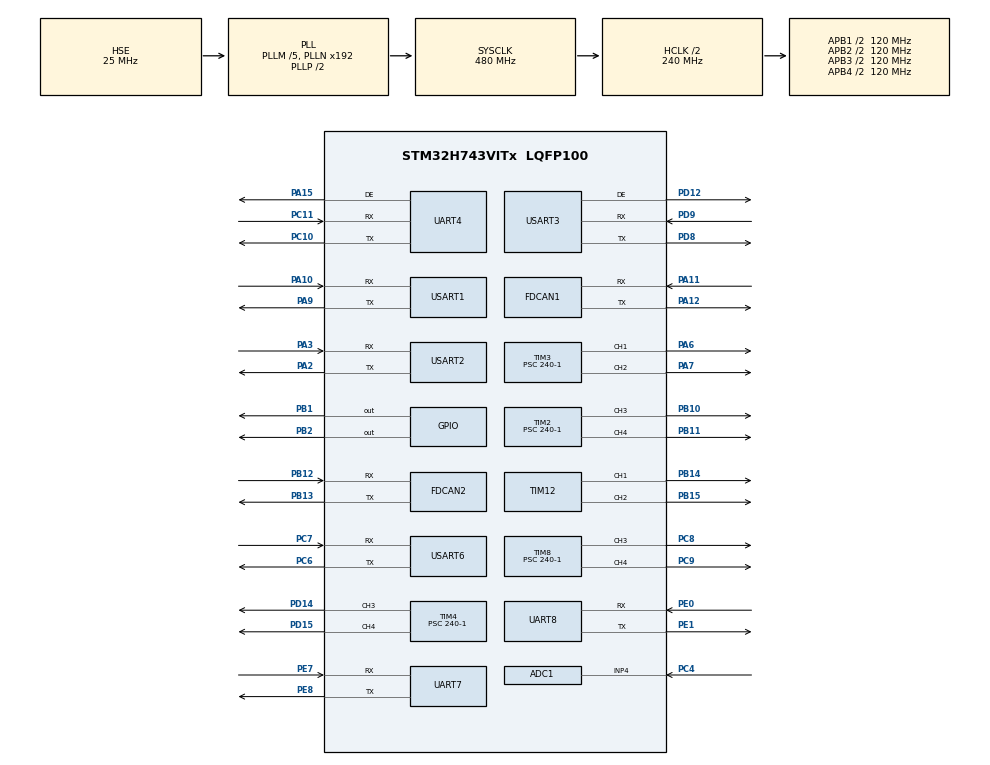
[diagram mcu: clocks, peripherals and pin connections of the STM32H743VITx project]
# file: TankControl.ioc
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ADC1.Channel-1\#ChannelRegularConversion=ADC_CHANNEL_4
ADC1.NbrOfConversionFlag=1
ADC1.OffsetNumber-1\#ChannelRegularConversion=ADC_OFFSET_NONE
ADC1.OffsetSignedSaturation-1\#ChannelRegularConversion=DISABLE
ADC1.Rank-1\#ChannelRegularConversion=1
ADC1.SamplingTime-1\#ChannelRegularConversion=ADC_SAMPLETIME_1CYCLE_5
ADC1.master=1
Dma.Request0=UART7_RX
Dma.Request1=UART7_TX
Dma.Request2=USART2_RX
Dma.UART7_RX.0.Direction=DMA_PERIPH_TO_MEMORY
Dma.UART7_RX.0.EventEnable=DISABLE
Dma.UART7_RX.0.FIFOMode=DMA_FIFOMODE_DISABLE
Dma.UART7_RX.0.Instance=DMA1_Stream0
Dma.UART7_RX.0.MemDataAlignment=DMA_MDATAALIGN_BYTE
Dma.UART7_RX.0.MemInc=DMA_MINC_ENABLE
Dma.UART7_RX.0.Mode=DMA_CIRCULAR
Dma.UART7_RX.0.PeriphDataAlignment=DMA_PDATAALIGN_BYTE
Dma.UART7_RX.0.PeriphInc=DMA_PINC_DISABLE
Dma.UART7_RX.0.Polarity=HAL_DMAMUX_REQ_GEN_RISING
Dma.UART7_RX.0.Priority=DMA_PRIORITY_HIGH
Dma.UART7_RX.0.RequestNumber=1
Dma.UART7_RX.0.SignalID=NONE
Dma.UART7_RX.0.SyncEnable=DISABLE
Dma.UART7_RX.0.SyncPolarity=HAL_DMAMUX_SYNC_NO_EVENT
Dma.UART7_RX.0.SyncRequestNumber=1
Dma.UART7_RX.0.SyncSignalID=NONE
Dma.UART7_TX.1.Direction=DMA_MEMORY_TO_PERIPH
Dma.UART7_TX.1.EventEnable=DISABLE
Dma.UART7_TX.1.FIFOMode=DMA_FIFOMODE_DISABLE
Dma.UART7_TX.1.Instance=DMA1_Stream1
Dma.UART7_TX.1.MemDataAlignment=DMA_MDATAALIGN_BYTE
Dma.UART7_TX.1.MemInc=DMA_MINC_ENABLE
Dma.UART7_TX.1.Mode=DMA_CIRCULAR
Dma.UART7_TX.1.PeriphDataAlignment=DMA_PDATAALIGN_BYTE
Dma.UART7_TX.1.PeriphInc=DMA_PINC_DISABLE
Dma.UART7_TX.1.Polarity=HAL_DMAMUX_REQ_GEN_RISING
Dma.UART7_TX.1.Priority=DMA_PRIORITY_HIGH
Dma.UART7_TX.1.RequestNumber=1
Dma.UART7_TX.1.SignalID=NONE
Dma.UART7_TX.1.SyncEnable=DISABLE
Dma.UART7_TX.1.SyncPolarity=HAL_DMAMUX_SYNC_NO_EVENT
Dma.UART7_TX.1.SyncRequestNumber=1
Dma.UART7_TX.1.SyncSignalID=NONE
Dma.USART2_RX.2.Direction=DMA_PERIPH_TO_MEMORY
Dma.USART2_RX.2.EventEnable=DISABLE
Dma.USART2_RX.2.FIFOMode=DMA_FIFOMODE_DISABLE
Dma.USART2_RX.2.Instance=DMA2_Stream0
Dma.USART2_RX.2.MemDataAlignment=DMA_MDATAALIGN_BYTE
Dma.USART2_RX.2.MemInc=DMA_MINC_ENABLE
Dma.USART2_RX.2.Mode=DMA_CIRCULAR
Dma.USART2_RX.2.PeriphDataAlignment=DMA_PDATAALIGN_BYTE
Dma.USART2_RX.2.PeriphInc=DMA_PINC_DISABLE
Dma.USART2_RX.2.Polarity=HAL_DMAMUX_REQ_GEN_RISING
Dma.USART2_RX.2.Priority=DMA_PRIORITY_VERY_HIGH
Dma.USART2_RX.2.RequestNumber=1
Dma.USART2_RX.2.SignalID=NONE
Dma.USART2_RX.2.SyncEnable=DISABLE
Dma.USART2_RX.2.SyncPolarity=HAL_DMAMUX_SYNC_NO_EVENT
Dma.USART2_RX.2.SyncRequestNumber=1
Dma.USART2_RX.2.SyncSignalID=NONE
FDCAN1.CalculateBaudRateNominal=500000
FDCAN1.CalculateTimeBitNominal=2000
FDCAN1.CalculateTimeQuantumNominal=80.0
FDCAN1.ClockCalibrationCCU=DISABLE
FDCAN1.ClockDividerCCU=FDCAN_CLOCK_DIV1
FDCAN1.DataPrescaler=1
FDCAN1.DataTimeSeg1=1
FDCAN1.DataTimeSeg2=1
FDCAN1.NominalPrescaler=2
FDCAN1.NominalTimeSeg1=16
FDCAN1.NominalTimeSeg2=8
FDCAN1.RxBuffersNbr=0
FDCAN1.RxFifo0ElmtsNbr=32
FDCAN1.StdFiltersNbr=2
FDCAN1.TxBuffersNbr=8
FDCAN2.CalculateBaudRateNominal=833333
FDCAN2.CalculateTimeBitNominal=1200
FDCAN2.CalculateTimeQuantumNominal=400.0
FDCAN2.NominalPrescaler=10
Mcu.Family=STM32H7
Mcu.Name=STM32H743VITx
Mcu.Package=LQFP100
NVIC.DMA1_Stream0_IRQn=true\:0\:0\:false\:false\:true\:false\:true\:true
NVIC.DMA1_Stream1_IRQn=true\:0\:0\:false\:false\:true\:false\:true\:true
NVIC.DMA2_Stream0_IRQn=true\:0\:0\:false\:false\:true\:false\:true\:true
NVIC.FDCAN1_IT0_IRQn=true\:0\:0\:false\:false\:true\:true\:true\:true
NVIC.FDCAN1_IT1_IRQn=true\:0\:0\:false\:false\:true\:true\:true\:true
NVIC.FDCAN_CAL_IRQn=true\:0\:0\:false\:false\:true\:true\:true\:true
NVIC.PriorityGroup=NVIC_PRIORITYGROUP_4
NVIC.UART7_IRQn=true\:0\:0\:true\:false\:true\:true\:true\:true
NVIC.USART1_IRQn=true\:1\:0\:true\:false\:true\:true\:true\:true
PA10.GPIO_Speed=GPIO_SPEED_FREQ_VERY_HIGH
PA10.Mode=Asynchronous
PA10.Signal=USART1_RX
PA11.GPIO_Mode=GPIO_MODE_AF_PP
PA11.GPIO_PuPd=GPIO_PULLUP
PA11.GPIO_Speed=GPIO_SPEED_FREQ_VERY_HIGH
PA11.Mode=FDCAN_Activate
PA11.Signal=FDCAN1_RX
PA12.GPIO_Mode=GPIO_MODE_AF_PP
PA12.GPIO_PuPd=GPIO_PULLUP
PA12.GPIO_Speed=GPIO_SPEED_FREQ_VERY_HIGH
PA12.Mode=FDCAN_Activate
PA12.Signal=FDCAN1_TX
PA13\ (JTMS/SWDIO).Mode=Serial_Wire
PA13\ (JTMS/SWDIO).Signal=DEBUG_JTMS-SWDIO
PA14\ (JTCK/SWCLK).Mode=Serial_Wire
PA14\ (JTCK/SWCLK).Signal=DEBUG_JTCK-SWCLK
PA15\ (JTDI).Mode=Hardware Flow Control (RS485)
PA15\ (JTDI).Signal=UART4_DE
PA2.Mode=Asynchronous
PA2.Signal=USART2_TX
PA3.Mode=Asynchronous
PA3.Signal=USART2_RX
PA6.GPIO_PuPd=GPIO_PULLDOWN
PA6.Signal=S_TIM3_CH1
PA7.GPIO_ModeDefaultPP=GPIO_MODE_AF_PP
PA7.GPIO_PuPd=GPIO_PULLDOWN
PA7.Signal=S_TIM3_CH2
PA9.GPIO_Speed=GPIO_SPEED_FREQ_VERY_HIGH
PA9.Mode=Asynchronous
PA9.Signal=USART1_TX
PB1.GPIO_ModeDefaultOutputPP=GPIO_MODE_OUTPUT_OD
PB1.GPIO_PuPd=GPIO_PULLUP
PB1.PinState=GPIO_PIN_SET
PB1.Signal=GPIO_Output
PB10.GPIO_PuPd=GPIO_PULLDOWN
PB10.Signal=S_TIM2_CH3
PB11.GPIO_PuPd=GPIO_PULLDOWN
PB11.Signal=S_TIM2_CH4
PB12.Mode=FDCAN_Activate
PB12.Signal=FDCAN2_RX
PB13.Mode=FDCAN_Activate
PB13.Signal=FDCAN2_TX
PB14.GPIO_PuPd=GPIO_PULLDOWN
PB14.Signal=S_TIM12_CH1
PB15.GPIO_PuPd=GPIO_PULLDOWN
PB15.Signal=S_TIM12_CH2
PB2.GPIO_ModeDefaultOutputPP=GPIO_MODE_OUTPUT_OD
PB2.GPIO_PuPd=GPIO_PULLUP
PB2.PinState=GPIO_PIN_SET
PB2.Signal=GPIO_Output
PC10.Mode=Asynchronous
PC10.Signal=UART4_TX
PC11.Mode=Asynchronous
PC11.Signal=UART4_RX
PC14-OSC32_IN\ (OSC32_IN).Mode=LSE-External-Oscillator
PC14-OSC32_IN\ (OSC32_IN).Signal=RCC_OSC32_IN
PC15-OSC32_OUT\ (OSC32_OUT).Mode=LSE-External-Oscillator
PC15-OSC32_OUT\ (OSC32_OUT).Signal=RCC_OSC32_OUT
PC4.Signal=ADCx_INP4
PC6.Mode=Asynchronous
PC6.Signal=USART6_TX
PC7.Mode=Asynchronous
PC7.Signal=USART6_RX
PC8.GPIO_PuPd=GPIO_PULLDOWN
PC8.Signal=S_TIM8_CH3
PC9.GPIO_PuPd=GPIO_PULLDOWN
PC9.Signal=S_TIM8_CH4
PD12.Mode=Hardware Flow Control (RS485)
PD12.Signal=USART3_DE
PD14.GPIO_PuPd=GPIO_PULLDOWN
PD14.Signal=S_TIM4_CH3
PD15.GPIO_PuPd=GPIO_PULLDOWN
PD15.Signal=S_TIM4_CH4
PD8.Mode=Asynchronous
PD8.Signal=USART3_TX
PD9.Mode=Asynchronous
PD9.Signal=USART3_RX
PE0.Mode=Asynchronous
PE0.Signal=UART8_RX
PE1.Mode=Asynchronous
PE1.Signal=UART8_TX
PE7.Mode=Asynchronous
PE7.Signal=UART7_RX
PE8.Mode=Asynchronous
PE8.Signal=UART7_TX
PH0-OSC_IN\ (PH0).Mode=HSE-External-Oscillator
PH0-OSC_IN\ (PH0).Signal=RCC_OSC_IN
PH1-OSC_OUT\ (PH1).Mode=HSE-External-Oscillator
PH1-OSC_OUT\ (PH1).Signal=RCC_OSC_OUT
ProjectManager.HeapSize=0x200
ProjectManager.StackSize=0x400
ProjectManager.TargetToolchain=MDK-ARM V5.32
RCC.ADCFreq_Value=75000000
RCC.APB1Freq_Value=120000000
RCC.APB2Freq_Value=120000000
RCC.APB3Freq_Value=120000000
RCC.APB4Freq_Value=120000000
RCC.CortexFreq_Value=480000000
RCC.D1PPRE=RCC_APB3_DIV2
RCC.D2PPRE1=RCC_APB1_DIV2
RCC.D2PPRE2=RCC_APB2_DIV2
RCC.D3PPRE=RCC_APB4_DIV2
RCC.DIVM1=5
RCC.DIVM2=2
RCC.DIVN1=192
RCC.DIVN2=12
RCC.DIVN3=128
RCC.DIVQ1=4
RCC.FDCANCLockSelection=RCC_FDCANCLKSOURCE_HSE
RCC.HCLKFreq_Value=240000000
RCC.HPRE=RCC_HCLK_DIV2
RCC.PLL2FRACN=0
RCC.PLL3FRACN=0
RCC.PLLFRACN=0
RCC.PLLSourceVirtual=RCC_PLLSOURCE_HSE
RCC.SYSCLKFreq_VALUE=480000000
RCC.SYSCLKSource=RCC_SYSCLKSOURCE_PLLCLK
RCC.USBFreq_Value=240000000
SH.ADCx_INP4.0=ADC1_INP4,IN4-Single-Ended
SH.S_TIM12_CH1.0=TIM12_CH1,PWM Generation1 CH1
SH.S_TIM12_CH2.0=TIM12_CH2,PWM Generation2 CH2
SH.S_TIM2_CH3.0=TIM2_CH3,PWM Generation3 CH3
SH.S_TIM2_CH4.0=TIM2_CH4,PWM Generation4 CH4
SH.S_TIM3_CH1.0=TIM3_CH1,PWM Generation1 CH1
SH.S_TIM3_CH2.0=TIM3_CH2,PWM Generation2 CH2
SH.S_TIM4_CH3.0=TIM4_CH3,PWM Generation3 CH3
SH.S_TIM4_CH4.0=TIM4_CH4,PWM Generation4 CH4
SH.S_TIM8_CH3.0=TIM8_CH3,PWM Generation3 CH3
SH.S_TIM8_CH4.0=TIM8_CH4,PWM Generation4 CH4
TIM12.Channel-PWM\ Generation1\ CH1=TIM_CHANNEL_1
TIM12.Channel-PWM\ Generation2\ CH2=TIM_CHANNEL_2
TIM2.Channel-PWM\ Generation3\ CH3=TIM_CHANNEL_3
TIM2.Channel-PWM\ Generation4\ CH4=TIM_CHANNEL_4
TIM2.Period=100-1
TIM2.Prescaler=240-1
TIM3.Channel-PWM\ Generation1\ CH1=TIM_CHANNEL_1
TIM3.Channel-PWM\ Generation2\ CH2=TIM_CHANNEL_2
TIM3.Period=100-1
TIM3.Prescaler=240-1
TIM4.Channel-PWM\ Generation3\ CH3=TIM_CHANNEL_3
TIM4.Channel-PWM\ Generation4\ CH4=TIM_CHANNEL_4
TIM4.Period=100-1
TIM4.Prescaler=240-1
TIM8.Channel-PWM\ Generation3\ CH3=TIM_CHANNEL_3
TIM8.Channel-PWM\ Generation4\ CH4=TIM_CHANNEL_4
TIM8.Period=100-1
TIM8.Prescaler=240-1
USART1.VirtualMode-Asynchronous=VM_ASYNC
USART2.VirtualMode-Asynchronous=VM_ASYNC
USART3.VirtualMode-Asynchronous=VM_ASYNC
USART3.VirtualMode-Hardware\ Flow\ Control\ (RS485)=VM_ASYNC
USART6.VirtualMode=VM_ASYNC
VP_MEMORYMAP_VS_MEMORYMAP.Mode=CurAppReg
VP_TIM12_VS_ClockSourceINT.Mode=Internal
VP_TIM2_VS_ClockSourceINT.Mode=Internal
VP_TIM3_VS_ClockSourceINT.Mode=Internal
VP_TIM4_VS_ClockSourceINT.Mode=Internal
VP_TIM5_VS_ClockSourceINT.Mode=Internal
board=custom

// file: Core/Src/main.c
/* USER CODE BEGIN Header */
/**
  ******************************************************************************
  * @file           : main.c
  * @brief          : Main program body
  ******************************************************************************
  * @attention
  *
  * Copyright (c) 2025 STMicroelectronics.
  * All rights reserved.
  *
  * This software is licensed under terms that can be found in the LICENSE file
  * in the root directory of this software component.
  * If no LICENSE file comes with this software, it is provided AS-IS.
  *
  ******************************************************************************
  */
/* USER CODE END Header */
#include "main.h"
#include "adc.h"
#include "dma.h"
#include "fdcan.h"
#include "memorymap.h"
#include "tim.h"
#include "usart.h"
#include "gpio.h"

/* USER CODE BEGIN Includes */
#include "stdio.h"
#include "string.h"
/* USER CODE END Includes */

/* USER CODE BEGIN PD */
#define default_pwm_val 50
#define default_pwm_shut 0
/* USER CODE END PD */

/* USER CODE BEGIN PM */
uint8_t rx_buf[5];
char *str = "Hello, world!";
/* USER CODE END PM */

/* USER CODE BEGIN PV */

// CAN接收相关全局变量
extern volatile uint8_t can_msg_received;  // 从fdcan.c引用接收标志

// CAN接收数据变量
uint32_t received_can_id = 0;      // 接收到的CAN消息ID
uint8_t received_can_data[8] = {0}; // 接收到的CAN数据
uint8_t received_can_length = 0;   // 接收到的CAN数据长度
uint32_t can_receive_count = 0;    // 接收消息计数器

uint8_t rx_dma_buf[1024];
volatile uint8_t dma_rx_complete = 0;  // DMA接收完成标志
uint8_t rx_data_copy[1024];            // 复制出来的数据存储数组

// USART2 DMA接收相关变量
uint8_t usart2_dma_buf[32];           // USART2 DMA接收缓冲区
volatile uint8_t usart2_dma_complete = 0;  // USART2 DMA接收完成标志
uint8_t usart2_data_copy[32];         // USART2复制出来的数据存储数组

// IMU数据结构
typedef struct {
    int16_t accel_x, accel_y, accel_z;     // 加速度
    int16_t gyro_x, gyro_y, gyro_z;        // 角速度
    int16_t roll, pitch, yaw;              // 角度
    int16_t temperature;                   // 温度
} IMU_Data_t;

IMU_Data_t imu_data;

/* USER CODE END PV */

void SystemClock_Config(void);
/* USER CODE BEGIN PFP */
void UART_Start_DMA_Receive(uint8_t *buffer, uint16_t size);
void USART2_Start_DMA_Receive(uint8_t *buffer, uint16_t size);
void Process_Received_Data(void);
void Process_USART2_Data(void);
void volatile_delay_tick(uint32_t tick)
{
    for(volatile int i=0; i<tick; i++)
    {
        __NOP();
    }
}
uint8_t Parse_IMU_Frame(uint8_t *data, uint16_t start_pos, uint16_t frame_num);
/* USER CODE END PFP */

/* USER CODE BEGIN 0 */
/**
 * @brief 重定向printf到UART1
 */
int fputc(int ch, FILE *f)
{
    // 采用轮询方式发送1字节数据，超时时间设置为无限等待
    HAL_UART_Transmit(&huart1, (uint8_t *)&ch, 1, HAL_MAX_DELAY);
    return ch;
}

/**
 * @brief 重定向scanf从UART1
 */
int fgetc(FILE *f)
{
    uint8_t ch;
    // 采用轮询方式接收1字节数据，超时时间设置为无限等待
    HAL_UART_Receive(&huart1, (uint8_t*)&ch, 1, HAL_MAX_DELAY);
    return ch;
}

void HAL_UART_RxCpltCallback(UART_HandleTypeDef *huart)
{
  	int temp_ccr;
//    if(huart->Instance == UART7)
//    {
//      dma_rx_complete = 1;
//      HAL_UART_Receive_DMA(&huart7, rx_dma_buf, sizeof(rx_dma_buf));
//    }
    if(huart->Instance == USART2)
    {
      // 检查是否是DMA接收完成
      usart2_dma_complete = 1;
      HAL_UART_Receive_DMA(&huart2, usart2_dma_buf, sizeof(usart2_dma_buf));

    }
}
//		for(int i=0;i<5;i++)rx_buf[i]=0;
// }

/* USER CODE END 0 */

int main(void)
{

  /* MCU Configuration--------------------------------------------------------*/

  /* Reset of all peripherals, Initializes the Flash interface and the Systick. */
  HAL_Init();

  /* Configure the system clock */
  SystemClock_Config();

  /* Initialize all configured peripherals */
  MX_GPIO_Init();
  MX_DMA_Init();
  MX_USART1_UART_Init();
  MX_USART2_UART_Init();
  MX_USART3_UART_Init();
  MX_ADC1_Init();
  MX_FDCAN1_Init();
  MX_FDCAN2_Init();
  MX_UART7_Init();
  MX_UART8_Init();
  MX_USART6_UART_Init();
  MX_TIM2_Init();
  MX_TIM3_Init();
  MX_TIM4_Init();
  MX_TIM5_Init();
  MX_TIM8_Init();
  MX_TIM12_Init();
  MX_UART4_Init();
  /* USER CODE BEGIN 2 */

  // 配置CAN过滤器 - 接收必需
  CAN_Config_Filter();

  // 启动FDCAN - 接收必需
  HAL_FDCAN_Start(&hfdcan1);

  // 启动CAN接收中断 - 接收必需
  CAN_Start_Receive();

  // 启动UART7 DMA接收，数据自动存储到rx_dma_buf
  //UART_Start_DMA_Receive(rx_dma_buf, sizeof(rx_dma_buf));

  // 启动USART2 DMA接收，数据自动存储到usart2_dma_buf
  USART2_Start_DMA_Receive(usart2_dma_buf, sizeof(usart2_dma_buf));

  //启用pwm
    HAL_TIM_PWM_Start(&htim2,TIM_CHANNEL_3);
	HAL_TIM_PWM_Start(&htim2,TIM_CHANNEL_4);
	HAL_TIM_PWM_Start(&htim3,TIM_CHANNEL_1);
	HAL_TIM_PWM_Start(&htim3,TIM_CHANNEL_2);
	HAL_TIM_PWM_Start(&htim4,TIM_CHANNEL_3);
	HAL_TIM_PWM_Start(&htim4,TIM_CHANNEL_4);
	HAL_TIM_PWM_Start(&htim8,TIM_CHANNEL_3);
	HAL_TIM_PWM_Start(&htim8,TIM_CHANNEL_4);
  __HAL_TIM_SetCompare(&htim2, TIM_CHANNEL_3, default_pwm_shut);
	__HAL_TIM_SetCompare(&htim3, TIM_CHANNEL_1, default_pwm_shut);
	__HAL_TIM_SetCompare(&htim4, TIM_CHANNEL_3, default_pwm_shut);
	__HAL_TIM_SetCompare(&htim8, TIM_CHANNEL_3, default_pwm_shut);
	// volatile_delay_tick(100000); // 确保PWM初始化完成
	__HAL_TIM_SetCompare(&htim2, TIM_CHANNEL_4, default_pwm_shut);
	__HAL_TIM_SetCompare(&htim3, TIM_CHANNEL_2, default_pwm_shut);
	__HAL_TIM_SetCompare(&htim4, TIM_CHANNEL_4, default_pwm_shut);
	__HAL_TIM_SetCompare(&htim8, TIM_CHANNEL_4, default_pwm_shut);
  /* USER CODE END 2 */

  /* Infinite loop */
  /* USER CODE BEGIN WHILE */
  while (1)
  {
    //检查UART7 DMA接收完成标志
    if(dma_rx_complete)
    {
        // 复制数据到备份数组
        memcpy(rx_data_copy, rx_dma_buf, sizeof(rx_dma_buf));

        // 处理接收到的数据
        //Process_Received_Data();

        // 处理完后清除标志
        dma_rx_complete = 0;
    }

    // 检查USART2 DMA接收完成标志
    if(usart2_dma_complete)
    {
        // 复制数据到备份数组
        memcpy(usart2_data_copy, usart2_dma_buf, sizeof(usart2_dma_buf));

        // 处理USART2 DMA数据
        Process_USART2_Data();

        // 处理完后清除标志
        usart2_dma_complete = 0;
    }

    /* USER CODE END WHILE */

   }
}

void SystemClock_Config(void)
{
  RCC_OscInitTypeDef RCC_OscInitStruct = {0};
  RCC_ClkInitTypeDef RCC_ClkInitStruct = {0};

  /** Supply configuration update enable
  */
  HAL_PWREx_ConfigSupply(PWR_LDO_SUPPLY);

  /** Configure the main internal regulator output voltage
  */
  __HAL_PWR_VOLTAGESCALING_CONFIG(PWR_REGULATOR_VOLTAGE_SCALE0);

  while(!__HAL_PWR_GET_FLAG(PWR_FLAG_VOSRDY)) {}

  /** Initializes the RCC Oscillators according to the specified parameters
  * in the RCC_OscInitTypeDef structure.
  */
  RCC_OscInitStruct.OscillatorType = RCC_OSCILLATORTYPE_HSE;
  RCC_OscInitStruct.HSEState = RCC_HSE_ON;
  RCC_OscInitStruct.PLL.PLLState = RCC_PLL_ON;
  RCC_OscInitStruct.PLL.PLLSource = RCC_PLLSOURCE_HSE;
  RCC_OscInitStruct.PLL.PLLM = 5;
  RCC_OscInitStruct.PLL.PLLN = 192;
  RCC_OscInitStruct.PLL.PLLP = 2;
  RCC_OscInitStruct.PLL.PLLQ = 4;
  RCC_OscInitStruct.PLL.PLLR = 2;
  RCC_OscInitStruct.PLL.PLLRGE = RCC_PLL1VCIRANGE_2;
  RCC_OscInitStruct.PLL.PLLVCOSEL = RCC_PLL1VCOWIDE;
  RCC_OscInitStruct.PLL.PLLFRACN = 0;
  if (HAL_RCC_OscConfig(&RCC_OscInitStruct) != HAL_OK)
  {
    Error_Handler();
  }

  /** Initializes the CPU, AHB and APB buses clocks
  */
  RCC_ClkInitStruct.ClockType = RCC_CLOCKTYPE_HCLK|RCC_CLOCKTYPE_SYSCLK
                              |RCC_CLOCKTYPE_PCLK1|RCC_CLOCKTYPE_PCLK2
                              |RCC_CLOCKTYPE_D3PCLK1|RCC_CLOCKTYPE_D1PCLK1;
  RCC_ClkInitStruct.SYSCLKSource = RCC_SYSCLKSOURCE_PLLCLK;
  RCC_ClkInitStruct.SYSCLKDivider = RCC_SYSCLK_DIV1;
  RCC_ClkInitStruct.AHBCLKDivider = RCC_HCLK_DIV2;
  RCC_ClkInitStruct.APB3CLKDivider = RCC_APB3_DIV2;
  RCC_ClkInitStruct.APB1CLKDivider = RCC_APB1_DIV2;
  RCC_ClkInitStruct.APB2CLKDivider = RCC_APB2_DIV2;
  RCC_ClkInitStruct.APB4CLKDivider = RCC_APB4_DIV2;

  if (HAL_RCC_ClockConfig(&RCC_ClkInitStruct, FLASH_LATENCY_4) != HAL_OK)
  {
    Error_Handler();
  }
}

/* USER CODE BEGIN 4 */
/**
 * @brief 解析单个IMU数据帧并输出结果
 * @param data: 数据缓冲区
 * @param start_pos: 帧起始位置
 * @param frame_num: 帧序号
 * @return 1-成功解析，0-解析失败
 */
uint8_t Parse_IMU_Frame(uint8_t *data, uint16_t start_pos, uint16_t frame_num)
{
    // 检查帧头 0x55
    if(data[start_pos] != 0x55) return 0;

    uint8_t frame_type = data[start_pos + 1];

    printf("--- Frame #%d (pos:%d) ---\r\n", frame_num, start_pos);
    printf("Header: 0x%02X, Type: 0x%02X\r\n", data[start_pos], frame_type);

    switch(frame_type)
    {
        case 0x51: // 加速度数据帧
        {
            imu_data.accel_x = (int16_t)((data[start_pos + 3] << 8) | data[start_pos + 2]);
            imu_data.accel_y = (int16_t)((data[start_pos + 5] << 8) | data[start_pos + 4]);
            imu_data.accel_z = (int16_t)((data[start_pos + 7] << 8) | data[start_pos + 6]);
            imu_data.temperature = (int16_t)((data[start_pos + 9] << 8) | data[start_pos + 8]);

            printf("Raw: X=%d, Y=%d, Z=%d, Temp=%d\r\n",
                   imu_data.accel_x, imu_data.accel_y, imu_data.accel_z, imu_data.temperature);
            printf("Physical: X=%.3fg, Y=%.3fg, Z=%.3fg, Temp=%.1fC\r\n",
                   imu_data.accel_x/32768.0*16,
                   imu_data.accel_y/32768.0*16,
                   imu_data.accel_z/32768.0*16,
                   imu_data.temperature/340.0 + 36.25);
            break;
        }

        case 0x52: // 角速度数据帧
        {
            imu_data.gyro_x = (int16_t)((data[start_pos + 3] << 8) | data[start_pos + 2]);
            imu_data.gyro_y = (int16_t)((data[start_pos + 5] << 8) | data[start_pos + 4]);
            imu_data.gyro_z = (int16_t)((data[start_pos + 7] << 8) | data[start_pos + 6]);

            printf("Raw: X=%d, Y=%d, Z=%d\r\n",
                   imu_data.gyro_x, imu_data.gyro_y, imu_data.gyro_z);
            printf("Physical: X=%.2fdps, Y=%.2fdps, Z=%.2fdps\r\n",
                   imu_data.gyro_x/32768.0*2000,
                   imu_data.gyro_y/32768.0*2000,
                   imu_data.gyro_z/32768.0*2000);
            break;
        }

        case 0x53: // 角度数据帧
        {
            imu_data.roll = (int16_t)((data[start_pos + 3] << 8) | data[start_pos + 2]);
            imu_data.pitch = (int16_t)((data[start_pos + 5] << 8) | data[start_pos + 4]);
            imu_data.yaw = (int16_t)((data[start_pos + 7] << 8) | data[start_pos + 6]);

            printf("Raw: Roll=%d, Pitch=%d, Yaw=%d\r\n",
                   imu_data.roll, imu_data.pitch, imu_data.yaw);
            printf("Physical: Roll=%.2fdeg, Pitch=%.2fdeg, Yaw=%.2fdeg\r\n",
                   imu_data.roll/32768.0*180,
                   imu_data.pitch/32768.0*180,
                   imu_data.yaw/32768.0*180);
            break;
        }

        default:
            printf("[Unknown Frame Type] 0x%02X\r\n", frame_type);
            return 0; // 未知帧类型
    }
    HAL_Delay(1); // 确保输出稳定
    printf("\r\n");
    return 1; // 解析成功
}

/**
 * @brief 处理接收到的IMU数据并逐帧解算输出
 */
void Process_Received_Data(void)
{
    // printf("========================================\r\n");
    // printf("=== IMU Data Processing Start (1024 bytes) ===\r\n");
    // printf("========================================\r\n");

    uint16_t valid_frames = 0;
    uint16_t invalid_frames = 0;
    uint16_t i = 0;

    // 遍历整个缓冲区寻找IMU数据帧
    while(i < 1024 - 10) // 确保至少有11字节进行帧检查
    {
        // 寻找帧头 0x55
        if(rx_data_copy[i] == 0x55)
        {
            // 检查是否有足够字节构成完整帧(11字节)
            if(i + 11 <= 1024)
            {
                // 尝试解析IMU数据帧
                if(Parse_IMU_Frame(rx_data_copy, i, valid_frames + 1))
                {
                    valid_frames++;
                    i += 11; // 跳过已解析的帧
                }
                else
                {
                    invalid_frames++;
                    i++; // 继续寻找下一个可能的帧头
                }
            }
            else
            {
                printf("--- Incomplete Frame (pos:%d, remaining:%d) ---\r\n", i, 1024-i);
                break; // 剩余字节不足，退出循环
            }
        }
        else
        {
            i++; // 继续寻找帧头
        }
    }

    // printf("========================================\r\n");
    // printf("=== Processing Statistics ===\r\n");
    // printf("Valid frames: %d\r\n", valid_frames);
    // printf("Invalid frames: %d\r\n", invalid_frames);
    // printf("Total bytes processed: 1024\r\n");

    // 如果有有效帧，显示最终IMU状态
    // if(valid_frames > 0)
    // {
    //     printf("\r\n=== Final IMU Status Summary ===\r\n");
    //     printf("Accelerometer: X=%.3fg, Y=%.3fg, Z=%.3fg\r\n",
    //            imu_data.accel_x/32768.0*16,
    //            imu_data.accel_y/32768.0*16,
    //            imu_data.accel_z/32768.0*16);
    //     printf("Gyroscope: X=%.2fdps, Y=%.2fdps, Z=%.2fdps\r\n",
    //            imu_data.gyro_x/32768.0*2000,
    //            imu_data.gyro_y/32768.0*2000,
    //            imu_data.gyro_z/32768.0*2000);
    //     printf("Angle: Roll=%.2fdeg, Pitch=%.2fdeg, Yaw=%.2fdeg\r\n",
    //            imu_data.roll/32768.0*180,
    //            imu_data.pitch/32768.0*180,
    //            imu_data.yaw/32768.0*180);
    //     printf("Temperature: %.1fC\r\n", imu_data.temperature/340.0 + 36.25);
    // }

    // printf("========================================\r\n");
    // printf("=== IMU Data Processing Complete ===\r\n");
    // printf("========================================\r\n\r\n");
}

/**
 * @brief 处理USART2接收到的数据帧
 */
void Process_USART2_Data(void)
{
    uint16_t valid_frames = 0;
    uint16_t invalid_frames = 0;
    uint16_t i = 0;

    // 遍历整个缓冲区寻找数据帧
    while(i < 32 - 13) // 确保至少有14字节进行完整帧检查
    {
        // 寻找帧头 0xA0 0xA5
        if(usart2_data_copy[i] == 0xA0 && usart2_data_copy[i + 1] == 0xA5)
        {
            // 检查是否有足够字节构成完整帧(14字节)
            if(i + 14 <= 32)
            {
                // 检查帧尾 0xC0 0xC5
                if(usart2_data_copy[i + 12] == 0xC0 && usart2_data_copy[i + 13] == 0xC5)
                {
                    // 校验CRC（对帧内9个字节进行异或）
                    uint8_t calculated_crc = 0;
                    for(int j = 0; j < 9; j++)
                    {
                        calculated_crc ^= usart2_data_copy[i + 2 + j];
                    }

                    uint8_t received_crc = usart2_data_copy[i + 11];

                    if(calculated_crc == received_crc)
                    {
                        // CRC校验通过，提取帧内容到9字节数组
                        uint8_t frame_content[9];
                        memcpy(frame_content, &usart2_data_copy[i + 2], 9);
                        if(frame_content[0]==0x0F){
                            __HAL_TIM_SetCompare(&htim2, TIM_CHANNEL_4, default_pwm_shut);
                            volatile_delay_tick(10000);
                            __HAL_TIM_SetCompare(&htim2, TIM_CHANNEL_3, frame_content[1]);
                        }
                        else if(frame_content[0]==0xF0){
                            __HAL_TIM_SetCompare(&htim2, TIM_CHANNEL_3, default_pwm_shut);
                            volatile_delay_tick(10000);
                            __HAL_TIM_SetCompare(&htim2, TIM_CHANNEL_4, frame_content[1]);
                        }
                        else{
                            __HAL_TIM_SetCompare(&htim2, TIM_CHANNEL_3, default_pwm_shut);
                            __HAL_TIM_SetCompare(&htim2, TIM_CHANNEL_4, default_pwm_shut);
                        }

                        if(frame_content[2]==0xF0){
                            __HAL_TIM_SetCompare(&htim3, TIM_CHANNEL_2, default_pwm_shut);
                            volatile_delay_tick(10000);
                            __HAL_TIM_SetCompare(&htim3, TIM_CHANNEL_1, frame_content[3]);
                        }
                        else if(frame_content[2]==0x0F){
                            __HAL_TIM_SetCompare(&htim3, TIM_CHANNEL_1, default_pwm_shut);
                            volatile_delay_tick(10000);
                            __HAL_TIM_SetCompare(&htim3, TIM_CHANNEL_2, frame_content[3]);
                        }
                        else{
                            __HAL_TIM_SetCompare(&htim3, TIM_CHANNEL_1, default_pwm_shut);
                            __HAL_TIM_SetCompare(&htim3, TIM_CHANNEL_2, default_pwm_shut);
                        }

                        if(frame_content[4]==0xF0){
                            __HAL_TIM_SetCompare(&htim4, TIM_CHANNEL_4, default_pwm_shut);
                            volatile_delay_tick(10000);
                            __HAL_TIM_SetCompare(&htim4, TIM_CHANNEL_3, frame_content[5]);
                        }
                        else if(frame_content[4]==0x0F){
                            __HAL_TIM_SetCompare(&htim4, TIM_CHANNEL_3, default_pwm_shut);
                            volatile_delay_tick(10000);
                            __HAL_TIM_SetCompare(&htim4, TIM_CHANNEL_4, frame_content[5]);
                        }
                        else{
                            __HAL_TIM_SetCompare(&htim4, TIM_CHANNEL_3, default_pwm_shut);
                            __HAL_TIM_SetCompare(&htim4, TIM_CHANNEL_4, default_pwm_shut);
                        }

                        if(frame_content[6]==0x0F){
                            __HAL_TIM_SetCompare(&htim8, TIM_CHANNEL_4, default_pwm_shut);
                            volatile_delay_tick(10000);
                            __HAL_TIM_SetCompare(&htim8, TIM_CHANNEL_3, frame_content[7]);
                        }
                        else if(frame_content[6]==0xF0){
                            __HAL_TIM_SetCompare(&htim8, TIM_CHANNEL_3, default_pwm_shut);
                            volatile_delay_tick(10000);
                            __HAL_TIM_SetCompare(&htim8, TIM_CHANNEL_4, frame_content[7]);
                        }
                        else{
                            __HAL_TIM_SetCompare(&htim8, TIM_CHANNEL_3, default_pwm_shut);
                            __HAL_TIM_SetCompare(&htim8, TIM_CHANNEL_4, default_pwm_shut);
                        }
                        if(frame_content[8]==0xF0){
                            HAL_GPIO_WritePin(GPIOB,GPIO_PIN_1,1);
                            HAL_GPIO_WritePin(GPIOB,GPIO_PIN_2,0);
                        }
                        else if(frame_content[8]==0x0F){
                            HAL_GPIO_WritePin(GPIOB,GPIO_PIN_1,0);
                            HAL_GPIO_WritePin(GPIOB,GPIO_PIN_2,1);
                        }

                        valid_frames++;

                        return;
                    }
                    else
                    {
                        invalid_frames++;
                        i++; // 继续寻找下一个可能的帧头
                    }
                }
                else
                {
                    // 帧尾不匹配
                    invalid_frames++;
                    i++; // 继续寻找下一个可能的帧头
                }
            }
            else
            {
                break; // 剩余字节不足，退出循环
            }
        }
        else
        {
            i++; // 继续寻找帧头
        }
    }

}

/**
 * @brief 简单启动UART DMA接收到指定数组
 * @param buffer: 接收数据的数组
 * @param size: 数组大小
 */
void UART_Start_DMA_Receive(uint8_t *buffer, uint16_t size)
{
    // 清空缓冲区和标志
    memset(buffer, 0, size);
    dma_rx_complete = 0;

    // 启动DMA接收，数据会自动存储到指定数组
    HAL_UART_Receive_DMA(&huart7, buffer, size);
}

/**
 * @brief 启动USART2 DMA接收到指定数组
 * @param buffer: 接收数据的数组
 * @param size: 数组大小
 */
void USART2_Start_DMA_Receive(uint8_t *buffer, uint16_t size)
{
    // 清空缓冲区和标志
    memset(buffer, 0, size);
    usart2_dma_complete = 0;

    // 启动DMA接收，数据会自动存储到指定数组
    HAL_UART_Receive_DMA(&huart2, buffer, size);
}
/* USER CODE END 4 */

void Error_Handler(void)
{
  __disable_irq();
  while (1)
  {
  }
}
